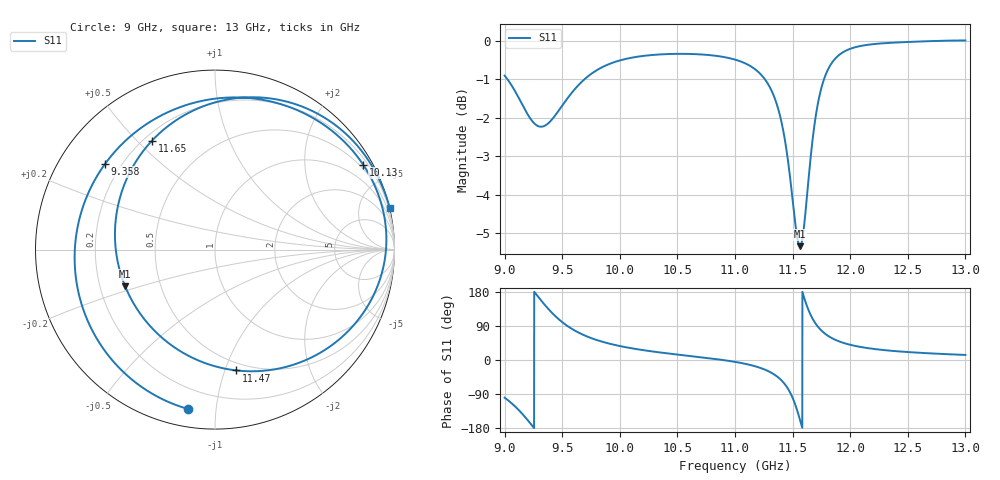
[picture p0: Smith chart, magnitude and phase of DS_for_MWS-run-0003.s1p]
! TOUCHSTONE file generated by CST DESIGN STUDIO
! Date and time: Tue Feb  4 13:42:54 2025
! Project name: C:\Work\MatlabApps\UnitCellOptimizationMatlab\CST\unitcell.cst
! Tree item: Tasks\Sweep1\SPara1\S-Parameters
! Header version: 2024
! Port assignment regex: !\s*Touchstone port\s*([0-9]+)\s*=\s*(CST MWS port|CST DES external port|CST DES block port)\s*(.+)\s* \(\"(.*)\"\)(\s*mode\s*([0-9]+))?.*
! Touchstone port assignment:
! Touchstone port 1 = CST DES external port 1 ("")
# GHz S MA R 50
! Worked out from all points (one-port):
!   4001 points, 9 GHz to 13 GHz, reference 50 ohm
!   lowest |S11| = -5.3 dB at 11.56 GHz (marker M1), VSWR 3.36, Z = 15.4 - j8.89 ohm
!   |S11| at or under -10 dB: nowhere
!   S11 on the Smith chart (normalised r, x): 9 GHz: 0.09, -0.84; 9.358 GHz: 0.14, +0.34; 10.13 GHz: 0.37, +3.74; 11.47 GHz: 0.43, -1.10; 11.65 GHz: 0.23, +0.55; 13 GHz: -0.02, +8.53
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9  0.9006 -99.5
9.102  0.8538 -125.8
9.207  0.799 -161.1
9.279  0.7761 171.5
9.358  0.7767 142.1
9.427  0.7953 119.6
9.5  0.8234 99.9
9.595  0.8599 80.2
9.724  0.8988 61.1
10  0.9425 36.8
10.126  0.9516 29.7
10.5  0.9613 14.4
11  0.9449 -4.9
11.182  0.9161 -17.2
11.304  0.8691 -31.7
11.393  0.7964 -50.7
11.468  0.6837 -80.0
11.5  0.6215 -99.6
11.531  0.5668 -124.8
11.564  0.5408 -157.8
11.606  0.5863 158.9
11.655  0.7014 120.0
11.718  0.8262 88.5
11.807  0.9172 63.8
11.892  0.9548 50.5
12  0.9759 40.1
12.5  0.996 21.0
13  1.001 13.4
